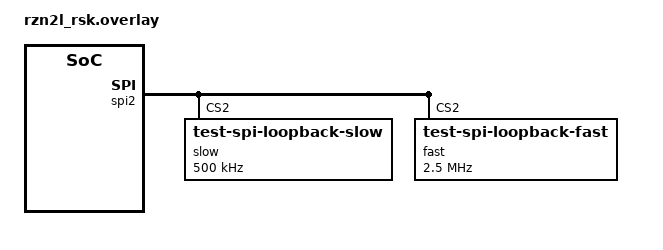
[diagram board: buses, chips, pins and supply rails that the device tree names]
/*
 * Copyright (c) 2025 Renesas Electronics Corporation
 *
 * SPDX-License-Identifier: Apache-2.0
 */

&spi2 {
	pinctrl-0 = <&spi2_pins>;
	pinctrl-names = "default";

	dmas = <&dma0 1 RZ_DMA_PERIPH_TO_MEM>,
	       <&dma0 0 RZ_DMA_MEM_TO_PERIPH>;
	dma-names = "rx", "tx";
	status = "okay";

	slow@2 {
		compatible = "test-spi-loopback-slow";
		reg = <2>;
		spi-max-frequency = <500000>;
	};

	fast@2 {
		compatible = "test-spi-loopback-fast";
		reg = <2>;
		spi-max-frequency = <2500000>;
	};
};

&dma0 {
	dma-buf-addr-alignment = <1>;
	status = "okay";
};
